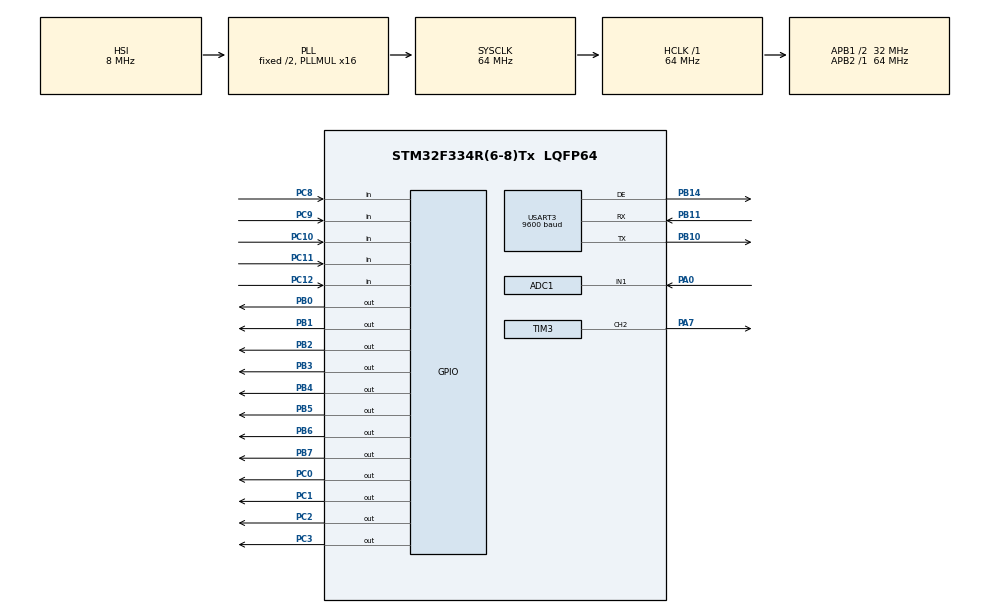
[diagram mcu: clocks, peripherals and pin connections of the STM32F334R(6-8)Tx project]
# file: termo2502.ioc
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ADC1.Channel-0\#ChannelRegularConversion=ADC_CHANNEL_1
ADC1.NbrOfConversionFlag=1
ADC1.Offset-0\#ChannelRegularConversion=0
ADC1.OffsetNumber-0\#ChannelRegularConversion=ADC_OFFSET_NONE
ADC1.Rank-0\#ChannelRegularConversion=1
ADC1.SamplingTime-0\#ChannelRegularConversion=ADC_SAMPLETIME_1CYCLE_5
ADC1.SamplingTimeOPAMP-0\#ChannelRegularConversion=ADC_SAMPLETIME_61CYCLES_5
ADC1.SubFamily=STM32F334x8
ADC1.master=1
Dma.Request0=USART3_RX
Dma.Request1=USART3_TX
Dma.USART3_RX.0.Direction=DMA_PERIPH_TO_MEMORY
Dma.USART3_RX.0.Instance=DMA1_Channel3
Dma.USART3_RX.0.MemDataAlignment=DMA_MDATAALIGN_BYTE
Dma.USART3_RX.0.MemInc=DMA_MINC_ENABLE
Dma.USART3_RX.0.Mode=DMA_NORMAL
Dma.USART3_RX.0.PeriphDataAlignment=DMA_PDATAALIGN_BYTE
Dma.USART3_RX.0.PeriphInc=DMA_PINC_DISABLE
Dma.USART3_RX.0.Priority=DMA_PRIORITY_LOW
Dma.USART3_TX.1.Direction=DMA_MEMORY_TO_PERIPH
Dma.USART3_TX.1.Instance=DMA1_Channel2
Dma.USART3_TX.1.MemDataAlignment=DMA_MDATAALIGN_BYTE
Dma.USART3_TX.1.MemInc=DMA_MINC_ENABLE
Dma.USART3_TX.1.Mode=DMA_NORMAL
Dma.USART3_TX.1.PeriphDataAlignment=DMA_PDATAALIGN_BYTE
Dma.USART3_TX.1.PeriphInc=DMA_PINC_DISABLE
Dma.USART3_TX.1.Priority=DMA_PRIORITY_LOW
Mcu.Family=STM32F3
Mcu.Name=STM32F334R(6-8)Tx
Mcu.Package=LQFP64
NVIC.DMA1_Channel2_IRQn=true\:0\:0\:false\:false\:true\:false\:true
NVIC.DMA1_Channel3_IRQn=true\:0\:0\:false\:false\:true\:false\:true
NVIC.PriorityGroup=NVIC_PRIORITYGROUP_0
NVIC.TIM6_DAC1_IRQn=true\:0\:0\:false\:false\:true\:true\:true
NVIC.TIM7_DAC2_IRQn=true\:0\:0\:false\:false\:true\:true\:true
PA0.Mode=IN1-Single-Ended
PA0.Signal=ADC1_IN1
PA7.Signal=S_TIM3_CH2
PB0.Signal=GPIO_Output
PB1.Signal=GPIO_Output
PB10.Mode=Asynchronous
PB10.Signal=USART3_TX
PB11.Mode=Asynchronous
PB11.Signal=USART3_RX
PB14.Mode=Hardware Flow Control (RS485)
PB14.Signal=USART3_DE
PB2.Signal=GPIO_Output
PB3.Signal=GPIO_Output
PB4.Signal=GPIO_Output
PB5.Signal=GPIO_Output
PB6.Signal=GPIO_Output
PB7.Signal=GPIO_Output
PC0.Signal=GPIO_Output
PC1.Signal=GPIO_Output
PC10.Signal=GPIO_Input
PC11.Signal=GPIO_Input
PC12.Signal=GPIO_Input
PC2.Signal=GPIO_Output
PC3.Signal=GPIO_Output
PC8.Signal=GPIO_Input
PC9.Signal=GPIO_Input
ProjectManager.HeapSize=0x200
ProjectManager.StackSize=0x400
ProjectManager.TargetToolchain=TrueSTUDIO
RCC.AHBFreq_Value=64000000
RCC.APB1CLKDivider=RCC_HCLK_DIV2
RCC.APB1Freq_Value=32000000
RCC.APB1TimFreq_Value=64000000
RCC.APB2Freq_Value=64000000
RCC.APB2TimFreq_Value=64000000
RCC.CortexFreq_Value=64000000
RCC.FLatency-AdvancedSettings=FLASH_LATENCY_2
RCC.HCLKFreq_Value=64000000
RCC.HSE_VALUE=8000000
RCC.HSI_VALUE=8000000
RCC.LSE_VALUE=32768
RCC.PLLMUL=RCC_PLL_MUL16
RCC.SYSCLKFreq_VALUE=64000000
RCC.SYSCLKSourceVirtual=RCC_SYSCLKSOURCE_PLLCLK
SH.S_TIM3_CH2.0=TIM3_CH2,PWM Generation2 CH2
TIM3.Channel-PWM\ Generation2\ CH2=TIM_CHANNEL_2
TIM6.Period=300
TIM6.Prescaler=63999
TIM7.Period=1000
TIM7.Prescaler=63999
USART3.BaudRate=9600
USART3.VirtualMode-Asynchronous=VM_ASYNC
USART3.VirtualMode-Hardware\ Flow\ Control\ (RS485)=VM_ASYNC
VP_TIM6_VS_ClockSourceINT.Mode=Enable_Timer
VP_TIM7_VS_ClockSourceINT.Mode=Enable_Timer
board=NUCLEO-F334R8

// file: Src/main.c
/* USER CODE BEGIN Header */
/**
  ******************************************************************************
  * @file           : main.c
  * @brief          : Main program body
  ******************************************************************************
  * @attention
  *
  * <h2><center>&copy; Copyright (c) 2021 STMicroelectronics.
  * All rights reserved.</center></h2>
  *
  * This software component is licensed by ST under BSD 3-Clause license,
  * the "License"; You may not use this file except in compliance with the
  * License. You may obtain a copy of the License at:
  *                        opensource.org/licenses/BSD-3-Clause
  *
  ******************************************************************************
  */
/* USER CODE END Header */
#include "main.h"

/* USER CODE BEGIN PD */
#define     LCM_OUT1     	GPIOB->ODR
#define     LCM_OUT0        GPIOC->ODR
#define     LCM_RS         	GPIO_PIN_0        	// PC0
#define     LCM_RW         	GPIO_PIN_1        	// PC1
#define     LCM_E          	GPIO_PIN_2        	// PC2
#define     LCM_D7         	GPIO_PIN_7        	// PB7
#define     LCM_D6        	GPIO_PIN_6        	// PB6
#define     LCM_D5        	GPIO_PIN_5          // PB5
#define     LCM_D4        	GPIO_PIN_4          // PB4
#define     LCM_D3        	GPIO_PIN_3          // PB3
#define     LCM_D2        	GPIO_PIN_2          // PB2
#define     LCM_D1        	GPIO_PIN_1          // PB1
#define     LCM_D0        	GPIO_PIN_0          // PB0
#define     LCM_MASK  (LCM_D7|LCM_D6|LCM_D5|LCM_D4|LCM_D3|LCM_D2|LCM_D1| LCM_D0)
/* USER CODE END PD */

ADC_HandleTypeDef hadc1;

TIM_HandleTypeDef htim3;
TIM_HandleTypeDef htim6;
TIM_HandleTypeDef htim7;

UART_HandleTypeDef huart3;
DMA_HandleTypeDef hdma_usart3_rx;
DMA_HandleTypeDef hdma_usart3_tx;

/* USER CODE BEGIN PV */
int volatile valADC; //переменная для считывания значение АЦП, чтобы избежать оптимизации
char col;		// номер колонки на дисплее
char addInd;	//адрес позиции курсора (строка +колонка)
char data;	// данные индикатора 0-7
int str;	// строка дисплея
int rs; 	// индекс команда или данные при записи в дисплей
int flenter;// флаг нажати кнопки ввод
int  flVal; // флаг изменения значения позиции курсора
int N; //
int tn=0;//установленная температура нагрева
int y;  //переменная преобразования кода АЦП в напряжение
int Tc1; //установленная температура нагрева для первой ст. программы
int tn1; //время для нагрева до установленной температуры
int ty1;// время удержания температуры установленной
int Tc2; //установленная температура нагрева для первой ст. программы
int tn2; //время для нагрева до установленной температуры
int ty2;// время удержания температуры установленной
int T;//перемення принимающая заначения Tc1 или Tc2
float Ti=0;				//расчет прироста температуры в единицу времени
int ti=0;		//текущее время нагрева
float  Td=0;  //расчетная текущая температура
uint8_t tim6_flag=0;//вводим флаг для обратного вызова в прерывании
int a6=0; //переменная нажатия кнопки
int t6=0; //промежуточная для времени по таймеру 6
uint8_t tim7_flag=0;//вводим флаг для обратного вызова в прерывании
int a7=0; //переменная нажатия кнопки
int tt2=0; //переменная температуры удержания
int tt1=0; //переменная температуры нагрева
float E, E0, Intg, Ki,Kd, p, cIntg, cDif, PID;

/* USER CODE END PV */

void SystemClock_Config(void);
static void MX_GPIO_Init(void);
static void MX_DMA_Init(void);
static void MX_ADC1_Init(void);
static void MX_TIM3_Init(void);
static void MX_TIM6_Init(void);
static void MX_TIM7_Init(void);
static void MX_USART3_UART_Init(void);

/* USER CODE BEGIN 0 */
void Takt(void)
{
	LCM_OUT0 &= ~LCM_E;
	HAL_Delay(10);
	LCM_OUT0 |= LCM_E;
	HAL_Delay(10);
	LCM_OUT0 &= (~LCM_E);
	HAL_Delay(45);
}
//------------------------------------------------------------------------------
void Write_DC(char data, int rs) //функция записии команды или данных
{
	if(rs==1) {
		LCM_OUT0=LCM_RS;
	}
	else {
		LCM_OUT0 &= ~LCM_RS;
	}

	LCM_OUT1 = data;
	Takt();
}
//-----------------------------------------------
void Cursor (char col, int str)
{

	if (str ==1) {
	addInd=0x80|col;
	LCM_OUT0 &= ~LCM_RS;
	LCM_OUT1 = addInd;
	Takt();
	}
	else {
		addInd=0x80|0x40|col;
		LCM_OUT0 &= ~LCM_RS;
		LCM_OUT1 = addInd;
		Takt();
	}

}
//-----------------------------------------
void InitializeLCD(void)
{
    LCM_OUT1 &= ~(LCM_MASK);
    HAL_Delay(100);
    LCM_OUT0 &= ~LCM_RS;
    LCM_OUT0 &= ~LCM_RW;
    LCM_OUT0 &= ~LCM_E;

    Takt();
    Write_DC(0x3C, 0);
    Write_DC(0x3C, 0);
    Write_DC(0x0E, 0);
    Write_DC(0x01, 0);
    Write_DC(0x06, 0);
}
//------------------------------
void Dsp1(void)
{
	  Write_DC(0x01, 0);
	  Cursor (0x01, 1);
	    Write_DC(0xA8, 1);//П
	    Write_DC(0x70, 1);//р
	    Write_DC(0x6F, 1);//о
	    Write_DC(0xB4, 1);//г
	    Write_DC(0x20, 1);//
	    Write_DC(0x4E, 1);//N
	    if (N==0)
	    {
	    Write_DC(0x31, 1); //при установке параметров 1 программы
	    }
	    else
	    {
	    	 Write_DC(0x32, 1); //при установке параметров 2 программы
	    }

	  Cursor (0x01, 2);
	  Write_DC(0x54, 1);//Т
	  Write_DC(0xBD, 1);//н
	  Write_DC(0x3D, 1);//=
	  Write_DC(0x30, 1);//0
	  Write_DC(0x30, 1);//0
	  Write_DC(0x30, 1);//0
}
//----------------------------------------------------
void Dsp2(void)
{
	  Write_DC(0x01, 0);
	  Cursor (0x01, 1);
	  Write_DC(0x74, 1);//t
	  Write_DC(0xBD, 1);//н
	  Write_DC(0x3D, 1);//=
	  Write_DC(0x30, 1);//0
	  Write_DC(0x30, 1);//0
	  Write_DC(0x30, 1);//0

	  Cursor (0x01, 2);
	  Write_DC(0x74, 1);//t
	  Write_DC(0x79, 1);//у
	  Write_DC(0x3D, 1);//=
	  Write_DC(0x30, 1);//0
	  Write_DC(0x30, 1);//0
	  Write_DC(0x30, 1);//0
}
//-------------------------- Установка занчения для первой строки
void ChVal (void)
{
	int tn1=1;
	int tn2=0;
	int tn3=0;
	char tN1=0;
	char tN2=0;
	char tN3=0;
	char x=0;
while(flVal==1)
	{
       if(str==2){x=(0x40);}
       else {x=(0x00);}
		if(addInd==(0x80|x|0x06))
			{
			if((GPIOC->IDR & GPIO_PIN_12)==0)//если нажата кнопка С9
			{
			  a6=1;  // выставляем флаг нажатия
			}
				if(tim6_flag & a6) // если флаг прерывания по Т6 и флаг нажатия
				{
				tim6_flag = 0;
				a6=0;

				if(tn1<=9)
					{

					tN1=0x30|tn1;
					Write_DC(tN1, 1);// единицы температуры
					tn1=tn1+1;
					Cursor (0x06, str);
					}
				else
					{
					tn1=1;
					Write_DC(0x30, 1);
					tn2=tn2+1;
					if(tn2<=9)
						{
						tN2=0x30|tn2;
						Cursor (0x05, str);
						Write_DC(tN2, 1);// десятки температуры
						Cursor (0x06, str);
						}
					else
						{
						tn2=0;
						Cursor (0x05, str);
						Write_DC(0x30, 1);
						tn3=tn3+1;
						if(tn3<=9)
							{

							tN3=0x30|tn3;
							Cursor (0x04, str);
							Write_DC(tN3, 1);// десятки температуры

							Cursor (0x06, str);
							}
							else
							{
								tn3=0;
							}
						}
					}

				}
			}
		if((GPIOC->IDR & GPIO_PIN_10)==0) // если нажата кнопка С10
		{
		  a6=1;
		}
		if(tim6_flag & a6) // если флаг прерывания по т6 300мс и флаг нажатия кнопки

		{
			tim6_flag = 0;
			a6=0;
			flVal=0;
		}
		}
		tn=100*tn3+10*tn2+tn1;
	}
//------------------------------
void ValLCD (int n) // распознавание значения и кодировка для дисплея
{
	  switch (n) {
	      case 0:
	          data=(0x30);
	          break;
	      case 1:
	    	  data=(0x31);
	    	  break;
	      case 2:
	      	  data=(0x32);
	      	 break;
	      case 3:
	      	  data=(0x33);
	      	 break;
	      case 4:
	      	  data=(0x34);
	      	 break;
	      case 5:
	      	  data=(0x35);
	      	 break;
	      case 6:
	      	  data=(0x36);
	      	 break;
	      case 7:
	      	  data=(0x37);
	      	 break;
	      case 8:
	      	  data=(0x38);
	      	 break;
	      case 9:
	      	  data=(0x39);
	      	 break;
	  }
	 Write_DC(data, rs);
}
//----------------------------
void AcdReadLcd (int str)
{
	ADC1->CR |=  ADC_CR_ADSTART;  // запускаем преобразование

		  while((ADC1->CR &=ADC_ISR_EOC)==0) {} 	// пока не выставит флаг окончания преобразования
		  valADC=ADC1->DR;							// записываем содержимое регистра данных в переменную
		  ADC1->CR |=  ADC_CR_ADSTP;				// останавливаем преобразование
		  y=((3.3/4095)*valADC)*100;				// приводим к напряжению

		  Cursor (0x04, str);							// переводим курсор в позицию первого нуля
		  int y1=y/100;								// делим получившееся число после преобразования на 100 до единиц
		  int n=y1;									//целое число присваиваем переменной подпрограммы
		  ValLCD (n);								// распознаем для кодов дисплея сотеную позицию

		  Cursor (0x05, str);
		  int y2=(y-y1*100)/10;
		  n=y2;
		  ValLCD (n);								// распознаем для кодов дисплея десятичную позицию

		  Cursor (0x06, str);
		  y2=(y-y1*100)-y2*10;
		  n=y2;
		  ValLCD (n);								// распознаем для кодов дисплея единиц позицию

		  ADC1->DR=0x00;
		  HAL_Delay(1000);

}
//-----------------------------------------
void TimeLCD (ti)
{
	Cursor (0x04, 2);							// переводим курсор в позицию первого нуля
		 		  int ti1=ti/1000;					// делим получившееся число на 1000 до единиц
		 		  int n=ti1;						//целое число присваиваем переменной подпрограммы
		 		  ValLCD (n);						// распознаем для кодов дисплея сотеную позицию

		 		  Cursor (0x05, 2);
		 		  int ti2=(ti-ti1*1000)/100;
		 		  n=ti2;
		 		  ValLCD (n);								// распознаем для кодов дисплея десятичную позицию

		 		  Cursor (0x06, 2);
		 		  int ti3=((ti-ti1*1000)-ti2*100)/10;
		 		  n=ti3;
		 		  ValLCD (n);

		 		 Cursor (0x07, 2);
		 		 ti3=(((ti-ti1*1000)-ti2*100)-ti3*10);
		 		 n=ti3;
		 		 ValLCD (n);

}

//----------------------

void   Disptnok(void)
{Cursor (0x01, 2);
   	  Write_DC(0x74, 1);//t
   	  Write_DC(0x6E, 1);//n
   	  Write_DC(0x3D, 1);//=
   	  Write_DC(0x4F, 1);//O
   	  Write_DC(0x6B, 1);//k
   	  Write_DC(0x20, 1);
   	  Write_DC(0x20, 1);
   	  }
//---------------------------------------------
void DispNagr(void)
{
	   	  Write_DC(0x54, 1);//Т
	   	  Write_DC(0x69, 1);//i
	   	  Write_DC(0x3D, 1);//=

	   	Cursor (0x01, 2);
	   	   	  Write_DC(0x74, 1);//t
	   	   	  Write_DC(0x6E, 1);//n
	   	   	  Write_DC(0x3D, 1);//=

}
//--------------------------------------------------------
void TIM6_Callback(void)// обратный вызов из прерывания для кнопок
{
	tim6_flag = 1;
	TIM6->SR&=(~TIM_SR_UIF);
    if(t6<=4) {t6++;}
    else {ti++;t6=0;}
}
//----------------------------------------------------------------

//----------------------------------------------------------------
void Ten (void)
{
	p = 240;
	Ki = 19;
	Kd = 600;
		E0=E;  //Предыдущенее значение ошибки
		E=y-Td;	//текущая ошибка в градусах
		Intg=Intg+(E+E0)/2; //интеграл рассогласования
		cIntg = Intg*(1/Ki); // Интегральный вклад в регулирование
		cDif = Kd*(E-E0); // Дифференциальный вклад в регулирование
		PID = (p*E + cIntg + cDif);  // Регулятор
		TIM3->CCR2=PID*20;

}

/* USER CODE END 0 */

int main(void)
{

  /* MCU Configuration--------------------------------------------------------*/

  /* Reset of all peripherals, Initializes the Flash interface and the Systick. */
  HAL_Init();

  /* Configure the system clock */
  SystemClock_Config();

  /* Initialize all configured peripherals */
  MX_GPIO_Init();
  MX_DMA_Init();
  MX_ADC1_Init();
  MX_TIM3_Init();
  MX_TIM6_Init();
  MX_TIM7_Init();
  MX_USART3_UART_Init();
  /* USER CODE BEGIN 2 */
  InitializeLCD(); //инициализация дисплея

      ADC1->CR &= ~(1U<<29UL); //сбрасываем бит выключение регулятора напряжени АЦП в 00
      ADC1->CR |= (1U<<28UL);   // включаем регулятор напряжения АЦП установив в 01
      HAL_Delay(1);

      ADC1->CR &= ~(ADC_CR_ADCALDIF);  // устанавливаем бит калибровки диф канала в 0
      ADC1->CR |=  ADC_CR_ADCAL;    // устанавливаем в бит калибровки несимметричного канала в 1
      while((ADC1->CR &  ADC_CR_ADCAL)!=0)  { }  // ждем выполнения калибровки пока станет равен 0

      ADC1->IER |= ADC_IER_ADRDYIE;				// устанавливаем разрешение прерывания по флагу включения АЦП
      ADC1->IER |= ADC_IER_EOCIE;
      ADC1->CFGR |= ADC_CFGR_CONT; 	//разрешение непрерывного преобразования для обычных преобразований
      ADC1->CR |=  ADC_CR_ADEN;					// включаем АЦП
      while((ADC1->ISR &  ADC_ISR_ADRDY)==0)  { } // ждем установки флага включения АЦП

       TIM6->DIER |= TIM_DIER_UIE;   //разрешение прерывания по Т6
       NVIC_EnableIRQ(TIM6_DAC1_IRQn);//Включение прерывания
       TIM6->CR1 |= TIM_CR1_CEN;//включение таймера 6

       TIM3->CCER|= (TIM_CCER_CC2E);// разрешение вывода ШИМ на ногу 2-го канала А7
       TIM3->CR1 |= TIM_CR1_CEN;//включение таймера 3

       Dsp1();		 	//	выводим 1 дисплей с номером программы и температурой нагрева
           str=2;			//  для 2 строки дисплея
           Cursor (0x06, str);
           flVal=1;
           ChVal ();		//	подпрограмма установки числа во второй строке
           Tc1=tn;			// присваеваем число переменной температуре нагрева
           tn=0;			// обнуляем
           HAL_Delay(1000);

           Dsp2();			// выводим 2 дисплей
           str=1;			// переходми в 1 строку
           Cursor (0x06, str);
           flVal=1;
           ChVal ();		// вводим значение для времени нагрева
           tn1=tn;			// присваиваем значение переменной времени нагрева
           tn=0;			// обнуляем
           HAL_Delay(1000);

           str=2;
           Cursor (0x06, str);
           flVal=1;
           ChVal ();		// вводим число для времени удержания температуры
           ty1=tn;			// присваиваем значение переменной
           tn=0;
           HAL_Delay(1000);

           N=2;  			// переход к установке параметров программы 2
             Dsp1();		//	выводим 1 дисплей с номером программы и температурой нагрева
             str=2;			//  для 2 строки дисплея
             Cursor (0x06, str);
             flVal=1;
             ChVal ();		//	подпрограмма установки числа во второй строке
             Tc2=tn;			// присваеваем число переменной температуре нагрева
             tn=0;			// обнуляем
             HAL_Delay(1000);

             Dsp2();			// выводим 2 дисплей
             str=1;			// переходми в 1 строку
             Cursor (0x06, str);
             flVal=1;
             ChVal ();		// вводим значение для времени нагрева
             tn2=tn;			// присваиваем значение переменной времени нагрева
             tn=0;			// обнуляем
             HAL_Delay(1000);

             str=2;
             Cursor (0x06, str);
             flVal=1;
             ChVal ();		// вводим число для времени удержания температуры
             ty2=tn;			// присваиваем значение переменной
             tn=0;
             HAL_Delay(1000);

             while (a6==0)				//кнопка запуска исполнения программы
            {
            	 int a7=0;
            	if((GPIOC->IDR & GPIO_PIN_9)==0)
            {
            		a7=1;
            }
            if((tim6_flag & a7)==1) // если флаг прерывания по т6 300мс и флаг нажатия кнопки
            	{
             			tim6_flag = 0;
             			a6=1;
            	}
            }
             a6=0;

             Write_DC(0x01, 0);// очистка дисплея

             Cursor (0x00, 1);
        	 Write_DC(0x31, 1);//1
             DispNagr();

             str=1;
             rs=1;
             AcdReadLcd (str);  // определяем текущую температуру начальную и выводим на дисплей. Здесь есть задержка 1секунда

                   Ti= (Tc1-y)/(tn1);				//расчет прироста температуры в минуту
                   Ti= Ti/60;  //расчет прироста температуры в секунду
                   Td=y+Ti;//температура которая будет через 1 секунду после включения
                   ti=0;
                   TimeLCD (ti);

  /* USER CODE END 2 */
                   tt1=tn1*60;

  /* USER CODE BEGIN WHILE */
  while (y<Tc1)
  {

     AcdReadLcd (str); // преобразования текущей температуры АЦП и вывод на дисплей

     Ten();   // вызов ПИД регулятора
if(ti<tt1)
{
	TimeLCD (ti);					//вывод на дисплеий текущего времен нагрева
}
else
{
	Disptnok();					// при окончании установленного времени нагрева вывод Ок
}

Td=Td+Ti;
}

ty1=ty1-1;
if (ty1>0)   // нагрев закончился и начинается удержание если время удержания больше 0
{
Cursor (0x01, 2);
Write_DC(0x74, 1);//t
Write_DC(0x79, 1);//y
Write_DC(0x3D, 1);//=

tt2=ty1*60;
Td=Tc1;
ti=0;
while(ti<tt2)
{
TimeLCD (ti);					//вывод на дисплеий текущего времен нагрева
AcdReadLcd (str);				//определение текущей температуры
Ten();							// вызов ПИД регулятора
}

}

//-------------------------------------- программа 2 нагрева
Tc2=Tc2-1;
if(Tc2<=0){
Write_DC(0x01, 0);// очистка дисплея
Cursor (0x00, 1);
Write_DC(0x32, 1);//2
DispNagr();		//

str=1;
rs=1;
AcdReadLcd (str);  			// определяем текущую температуру начальную и выводим на дисплей. Здесь есть задержка 1секунда

Ti= (Tc2-y)/(tn2*60);			//расчет прироста температуры в единицу времени
Td=y+Ti;			// ожидаемая температура в i момент времени из расчета времени нагрева
tn2=tn2-1;
tt1=tn2*60;
ti=0;
while (y<Tc2)
{

AcdReadLcd (str);
TimeLCD ();					//вывод на дисплеий текущего времен нагрева
Ten();							// вызов ПИД регулятора
if(ti<tt1)
{
	TimeLCD ();
}
else
{
Disptnok();				// при окончании установленного времени нагрева вывод Ок
}
Td=Td+Ti;
}
// ------------ окончание нагрева по 2 программе
ty2=ty2-1;
if (ty2>0)    // если время удержания по 2 программе не равно 0
{
Cursor (0x01, 2);
Write_DC(0x74, 1);//t
Write_DC(0x79, 1);//y
Write_DC(0x3D, 1);//=

tt2=ty2*60;
Td=Tc2;
ti=0;
while(ti<tt2)
{
TimeLCD (ti);					//вывод на дисплеий текущего времен нагрева
AcdReadLcd (str);
Ten();
}
}
}
Write_DC(0x01, 0);// очистка дисплея
Cursor (0x01, 1);
Write_DC(0x65, 1);//e
Write_DC(0x6E, 1);//n
Write_DC(0x64, 1);//d
}

void SystemClock_Config(void)
{
  RCC_OscInitTypeDef RCC_OscInitStruct = {0};
  RCC_ClkInitTypeDef RCC_ClkInitStruct = {0};
  RCC_PeriphCLKInitTypeDef PeriphClkInit = {0};

  /** Initializes the RCC Oscillators according to the specified parameters
  * in the RCC_OscInitTypeDef structure.
  */
  RCC_OscInitStruct.OscillatorType = RCC_OSCILLATORTYPE_HSI;
  RCC_OscInitStruct.HSIState = RCC_HSI_ON;
  RCC_OscInitStruct.HSICalibrationValue = RCC_HSICALIBRATION_DEFAULT;
  RCC_OscInitStruct.PLL.PLLState = RCC_PLL_ON;
  RCC_OscInitStruct.PLL.PLLSource = RCC_PLLSOURCE_HSI;
  RCC_OscInitStruct.PLL.PLLMUL = RCC_PLL_MUL16;
  if (HAL_RCC_OscConfig(&RCC_OscInitStruct) != HAL_OK)
  {
    Error_Handler();
  }
  /** Initializes the CPU, AHB and APB buses clocks
  */
  RCC_ClkInitStruct.ClockType = RCC_CLOCKTYPE_HCLK|RCC_CLOCKTYPE_SYSCLK
                              |RCC_CLOCKTYPE_PCLK1|RCC_CLOCKTYPE_PCLK2;
  RCC_ClkInitStruct.SYSCLKSource = RCC_SYSCLKSOURCE_PLLCLK;
  RCC_ClkInitStruct.AHBCLKDivider = RCC_SYSCLK_DIV1;
  RCC_ClkInitStruct.APB1CLKDivider = RCC_HCLK_DIV2;
  RCC_ClkInitStruct.APB2CLKDivider = RCC_HCLK_DIV1;

  if (HAL_RCC_ClockConfig(&RCC_ClkInitStruct, FLASH_LATENCY_2) != HAL_OK)
  {
    Error_Handler();
  }
  PeriphClkInit.PeriphClockSelection = RCC_PERIPHCLK_ADC12;
  PeriphClkInit.Adc12ClockSelection = RCC_ADC12PLLCLK_DIV1;
  if (HAL_RCCEx_PeriphCLKConfig(&PeriphClkInit) != HAL_OK)
  {
    Error_Handler();
  }
}

static void MX_ADC1_Init(void)
{

  ADC_MultiModeTypeDef multimode = {0};
  ADC_ChannelConfTypeDef sConfig = {0};

  /** Common config
  */
  hadc1.Instance = ADC1;
  hadc1.Init.ClockPrescaler = ADC_CLOCK_ASYNC_DIV1;
  hadc1.Init.Resolution = ADC_RESOLUTION_12B;
  hadc1.Init.ScanConvMode = ADC_SCAN_DISABLE;
  hadc1.Init.ContinuousConvMode = DISABLE;
  hadc1.Init.DiscontinuousConvMode = DISABLE;
  hadc1.Init.ExternalTrigConvEdge = ADC_EXTERNALTRIGCONVEDGE_NONE;
  hadc1.Init.ExternalTrigConv = ADC_SOFTWARE_START;
  hadc1.Init.DataAlign = ADC_DATAALIGN_RIGHT;
  hadc1.Init.NbrOfConversion = 1;
  hadc1.Init.DMAContinuousRequests = DISABLE;
  hadc1.Init.EOCSelection = ADC_EOC_SINGLE_CONV;
  hadc1.Init.LowPowerAutoWait = DISABLE;
  hadc1.Init.Overrun = ADC_OVR_DATA_OVERWRITTEN;
  if (HAL_ADC_Init(&hadc1) != HAL_OK)
  {
    Error_Handler();
  }
  /** Configure the ADC multi-mode
  */
  multimode.Mode = ADC_MODE_INDEPENDENT;
  if (HAL_ADCEx_MultiModeConfigChannel(&hadc1, &multimode) != HAL_OK)
  {
    Error_Handler();
  }
  /** Configure Regular Channel
  */
  sConfig.Channel = ADC_CHANNEL_1;
  sConfig.Rank = ADC_REGULAR_RANK_1;
  sConfig.SingleDiff = ADC_SINGLE_ENDED;
  sConfig.SamplingTime = ADC_SAMPLETIME_1CYCLE_5;
  sConfig.OffsetNumber = ADC_OFFSET_NONE;
  sConfig.Offset = 0;
  if (HAL_ADC_ConfigChannel(&hadc1, &sConfig) != HAL_OK)
  {
    Error_Handler();
  }

}

static void MX_TIM3_Init(void)
{

  TIM_MasterConfigTypeDef sMasterConfig = {0};
  TIM_OC_InitTypeDef sConfigOC = {0};

  htim3.Instance = TIM3;
  htim3.Init.Prescaler = 0;
  htim3.Init.CounterMode = TIM_COUNTERMODE_UP;
  htim3.Init.Period = 65535;
  htim3.Init.ClockDivision = TIM_CLOCKDIVISION_DIV1;
  htim3.Init.AutoReloadPreload = TIM_AUTORELOAD_PRELOAD_DISABLE;
  if (HAL_TIM_PWM_Init(&htim3) != HAL_OK)
  {
    Error_Handler();
  }
  sMasterConfig.MasterOutputTrigger = TIM_TRGO_RESET;
  sMasterConfig.MasterSlaveMode = TIM_MASTERSLAVEMODE_DISABLE;
  if (HAL_TIMEx_MasterConfigSynchronization(&htim3, &sMasterConfig) != HAL_OK)
  {
    Error_Handler();
  }
  sConfigOC.OCMode = TIM_OCMODE_PWM1;
  sConfigOC.Pulse = 0;
  sConfigOC.OCPolarity = TIM_OCPOLARITY_HIGH;
  sConfigOC.OCFastMode = TIM_OCFAST_DISABLE;
  if (HAL_TIM_PWM_ConfigChannel(&htim3, &sConfigOC, TIM_CHANNEL_2) != HAL_OK)
  {
    Error_Handler();
  }
  HAL_TIM_MspPostInit(&htim3);

}

static void MX_TIM6_Init(void)
{

  TIM_MasterConfigTypeDef sMasterConfig = {0};

  htim6.Instance = TIM6;
  htim6.Init.Prescaler = 63999;
  htim6.Init.CounterMode = TIM_COUNTERMODE_UP;
  htim6.Init.Period = 150;
  htim6.Init.AutoReloadPreload = TIM_AUTORELOAD_PRELOAD_DISABLE;
  if (HAL_TIM_Base_Init(&htim6) != HAL_OK)
  {
    Error_Handler();
  }
  sMasterConfig.MasterOutputTrigger = TIM_TRGO_RESET;
  sMasterConfig.MasterSlaveMode = TIM_MASTERSLAVEMODE_DISABLE;
  if (HAL_TIMEx_MasterConfigSynchronization(&htim6, &sMasterConfig) != HAL_OK)
  {
    Error_Handler();
  }

}

static void MX_TIM7_Init(void)
{

  TIM_MasterConfigTypeDef sMasterConfig = {0};

  htim7.Instance = TIM7;
  htim7.Init.Prescaler = 63999;
  htim7.Init.CounterMode = TIM_COUNTERMODE_UP;
  htim7.Init.Period = 1000;
  htim7.Init.AutoReloadPreload = TIM_AUTORELOAD_PRELOAD_DISABLE;
  if (HAL_TIM_Base_Init(&htim7) != HAL_OK)
  {
    Error_Handler();
  }
  sMasterConfig.MasterOutputTrigger = TIM_TRGO_RESET;
  sMasterConfig.MasterSlaveMode = TIM_MASTERSLAVEMODE_DISABLE;
  if (HAL_TIMEx_MasterConfigSynchronization(&htim7, &sMasterConfig) != HAL_OK)
  {
    Error_Handler();
  }

}

static void MX_USART3_UART_Init(void)
{

  huart3.Instance = USART3;
  huart3.Init.BaudRate = 9600;
  huart3.Init.WordLength = UART_WORDLENGTH_8B;
  huart3.Init.StopBits = UART_STOPBITS_1;
  huart3.Init.Parity = UART_PARITY_NONE;
  huart3.Init.Mode = UART_MODE_TX_RX;
  huart3.Init.HwFlowCtl = UART_HWCONTROL_NONE;
  huart3.Init.OverSampling = UART_OVERSAMPLING_16;
  huart3.Init.OneBitSampling = UART_ONE_BIT_SAMPLE_DISABLE;
  huart3.AdvancedInit.AdvFeatureInit = UART_ADVFEATURE_NO_INIT;
  if (HAL_RS485Ex_Init(&huart3, UART_DE_POLARITY_HIGH, 0, 0) != HAL_OK)
  {
    Error_Handler();
  }

}

static void MX_DMA_Init(void)
{

  /* DMA controller clock enable */
  __HAL_RCC_DMA1_CLK_ENABLE();

  /* DMA interrupt init */
  /* DMA1_Channel2_IRQn interrupt configuration */
  HAL_NVIC_SetPriority(DMA1_Channel2_IRQn, 0, 0);
  HAL_NVIC_EnableIRQ(DMA1_Channel2_IRQn);
  /* DMA1_Channel3_IRQn interrupt configuration */
  HAL_NVIC_SetPriority(DMA1_Channel3_IRQn, 0, 0);
  HAL_NVIC_EnableIRQ(DMA1_Channel3_IRQn);

}

static void MX_GPIO_Init(void)
{
  GPIO_InitTypeDef GPIO_InitStruct = {0};

  /* GPIO Ports Clock Enable */
  __HAL_RCC_GPIOC_CLK_ENABLE();
  __HAL_RCC_GPIOA_CLK_ENABLE();
  __HAL_RCC_GPIOB_CLK_ENABLE();

  /*Configure GPIO pin Output Level */
  HAL_GPIO_WritePin(GPIOC, GPIO_PIN_0|GPIO_PIN_1|GPIO_PIN_2|GPIO_PIN_3, GPIO_PIN_RESET);

  /*Configure GPIO pin Output Level */
  HAL_GPIO_WritePin(GPIOB, GPIO_PIN_0|GPIO_PIN_1|GPIO_PIN_2|GPIO_PIN_3
                          |GPIO_PIN_4|GPIO_PIN_5|GPIO_PIN_6|GPIO_PIN_7, GPIO_PIN_RESET);

  /*Configure GPIO pins : PC0 PC1 PC2 PC3 */
  GPIO_InitStruct.Pin = GPIO_PIN_0|GPIO_PIN_1|GPIO_PIN_2|GPIO_PIN_3;
  GPIO_InitStruct.Mode = GPIO_MODE_OUTPUT_PP;
  GPIO_InitStruct.Pull = GPIO_NOPULL;
  GPIO_InitStruct.Speed = GPIO_SPEED_FREQ_LOW;
  HAL_GPIO_Init(GPIOC, &GPIO_InitStruct);

  /*Configure GPIO pins : PB0 PB1 PB2 PB3
                           PB4 PB5 PB6 PB7 */
  GPIO_InitStruct.Pin = GPIO_PIN_0|GPIO_PIN_1|GPIO_PIN_2|GPIO_PIN_3
                          |GPIO_PIN_4|GPIO_PIN_5|GPIO_PIN_6|GPIO_PIN_7;
  GPIO_InitStruct.Mode = GPIO_MODE_OUTPUT_PP;
  GPIO_InitStruct.Pull = GPIO_NOPULL;
  GPIO_InitStruct.Speed = GPIO_SPEED_FREQ_LOW;
  HAL_GPIO_Init(GPIOB, &GPIO_InitStruct);

  /*Configure GPIO pins : PC8 PC9 PC10 PC11
                           PC12 */
  GPIO_InitStruct.Pin = GPIO_PIN_8|GPIO_PIN_9|GPIO_PIN_10|GPIO_PIN_11
                          |GPIO_PIN_12;
  GPIO_InitStruct.Mode = GPIO_MODE_INPUT;
  GPIO_InitStruct.Pull = GPIO_NOPULL;
  HAL_GPIO_Init(GPIOC, &GPIO_InitStruct);

}

void Error_Handler(void)
{
}

/************************ (C) COPYRIGHT STMicroelectronics *****END OF FILE****/
